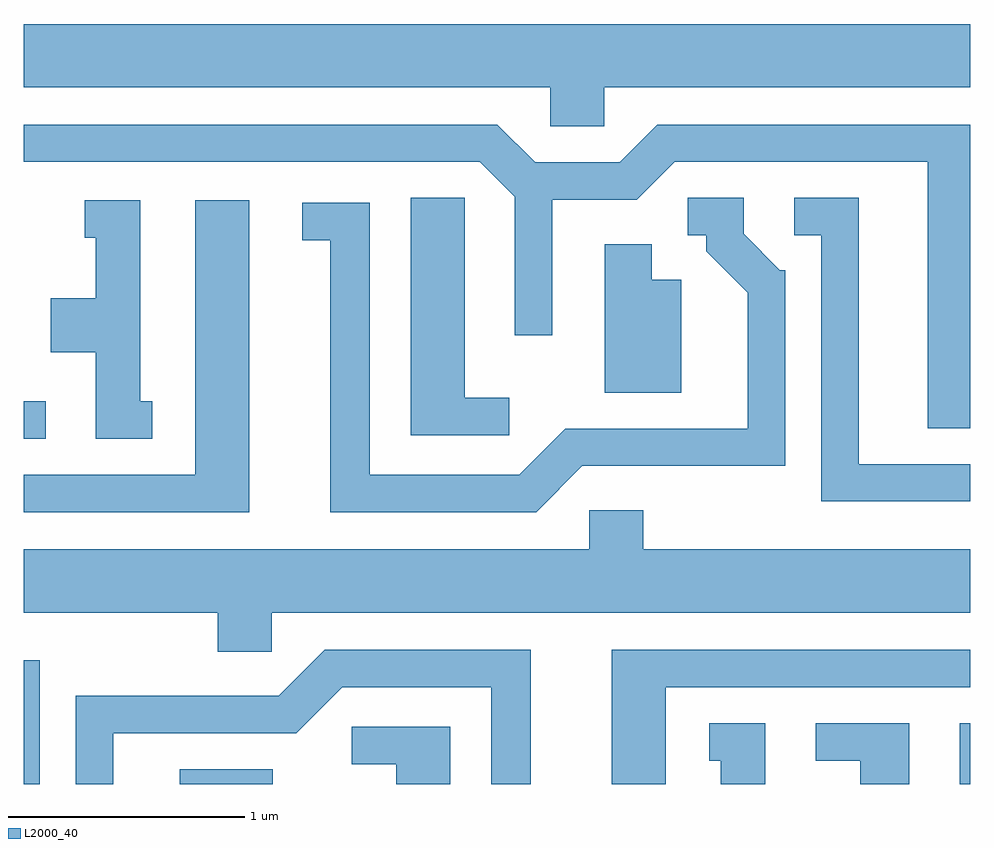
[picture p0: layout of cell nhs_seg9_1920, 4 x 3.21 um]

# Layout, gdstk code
import gdstk
lib = gdstk.Library(unit=1e-6, precision=1e-09)
def R(c, l, rs):  # rectangles x0, y0, x1, y1
    for r in rs: c.add(gdstk.rectangle(r[:2], r[2:], *l))
def P(c, l, *ps):  # polygons
    for p in ps: c.add(gdstk.Polygon(p, *l))
L2000_40 = (2000, 40)

nhs_seg9_1920 = lib.new_cell('nhs_seg9_1920')
R(nhs_seg9_1920, L2000_40, [(241.611,1984.432,241.679,1984.954), (242.271,1984.432,242.664,1984.494), (245.566,1984.432,245.611,1984.689), (241.611,1985.891,241.703,1986.049)])
P(nhs_seg9_1920, L2000_40, [(241.611,1987.376),(243.836,1987.376),(243.836,1987.211),(244.064,1987.211),(244.064,1987.376),(245.611,1987.376),(245.611,1987.644),(241.611,1987.644)],
  [(245.611,1987.219),(244.289,1987.219),(244.129,1987.059),(243.772,1987.059),(243.612,1987.219),(241.611,1987.219),(241.611,1987.061),(243.539,1987.061),(243.686,1986.914),(243.686,1986.328),(243.844,1986.328),(243.844,1986.901),(244.202,1986.901),(244.362,1987.061),(245.431,1987.061),(245.431,1985.936),(245.611,1985.936)],
  [(243.972,1985.776),(244.829,1985.776),(244.829,1986.604),(244.807,1986.604),(244.654,1986.757),(244.654,1986.909),(244.418,1986.909),(244.418,1986.751),(244.496,1986.751),(244.496,1986.684),(244.671,1986.509),(244.671,1985.934),(243.899,1985.934),(243.704,1985.739),(243.074,1985.739),(243.074,1986.889),(242.788,1986.889),(242.788,1986.731),(242.906,1986.731),(242.906,1985.581),(243.777,1985.581)],
  [(243.663,1986.064),(243.474,1986.064),(243.474,1986.909),(243.246,1986.909),(243.246,1985.906),(243.663,1985.906)],
  [(245.611,1985.784),(245.139,1985.784),(245.139,1986.909),(244.868,1986.909),(244.868,1986.751),(244.981,1986.751),(244.981,1985.626),(245.611,1985.626)],
  [(242.564,1986.899),(242.336,1986.899),(242.336,1985.739),(241.611,1985.739),(241.611,1985.581),(242.564,1985.581)],
  [(242.153,1986.049),(242.104,1986.049),(242.104,1986.899),(241.868,1986.899),(241.868,1986.741),(241.916,1986.741),(241.916,1986.484),(241.726,1986.484),(241.726,1986.256),(241.916,1986.256),(241.916,1985.891),(242.153,1985.891)],
  [(244.389,1986.564),(244.264,1986.564),(244.264,1986.714),(244.066,1986.714),(244.066,1986.086),(244.389,1986.086)],
  [(242.659,1985.156),(245.611,1985.156),(245.611,1985.424),(244.229,1985.424),(244.229,1985.589),(244.001,1985.589),(244.001,1985.424),(241.611,1985.424),(241.611,1985.156),(242.431,1985.156),(242.431,1984.991),(242.659,1984.991)],
  [(244.324,1984.841),(245.611,1984.841),(245.611,1984.999),(244.096,1984.999),(244.096,1984.432),(244.324,1984.432)],
  [(241.989,1984.646),(242.762,1984.646),(242.957,1984.841),(243.586,1984.841),(243.586,1984.432),(243.754,1984.432),(243.754,1984.999),(242.884,1984.999),(242.689,1984.804),(241.831,1984.804),(241.831,1984.432),(241.989,1984.432)],
  [(244.744,1984.689),(244.508,1984.689),(244.508,1984.531),(244.556,1984.531),(244.556,1984.432),(244.744,1984.432)],
  [(245.354,1984.689),(244.958,1984.689),(244.958,1984.531),(245.146,1984.531),(245.146,1984.432),(245.354,1984.432)],
  [(243.414,1984.674),(242.998,1984.674),(242.998,1984.516),(243.186,1984.516),(243.186,1984.432),(243.414,1984.432)])

lib.write_gds('nhs_seg9_1920.gds')
